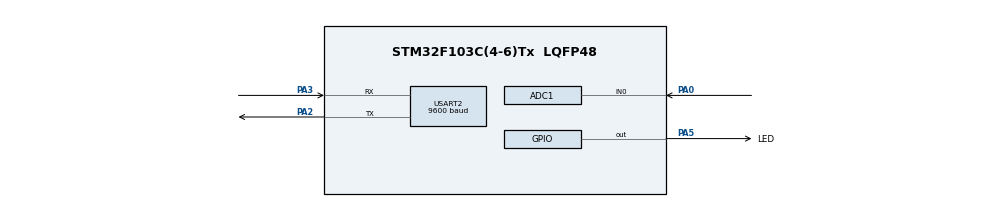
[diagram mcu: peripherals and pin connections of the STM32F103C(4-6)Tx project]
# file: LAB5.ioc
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ADC1.Channel-0\#ChannelRegularConversion=ADC_CHANNEL_0
ADC1.ContinuousConvMode=ENABLE
ADC1.NbrOfConversionFlag=1
ADC1.Rank-0\#ChannelRegularConversion=1
ADC1.SamplingTime-0\#ChannelRegularConversion=ADC_SAMPLETIME_1CYCLE_5
ADC1.master=1
Mcu.Family=STM32F1
Mcu.Name=STM32F103C(4-6)Tx
Mcu.Package=LQFP48
NVIC.PriorityGroup=NVIC_PRIORITYGROUP_4
NVIC.TIM2_IRQn=true\:0\:0\:false\:false\:true\:true\:true\:true
NVIC.USART2_IRQn=true\:0\:0\:false\:false\:true\:true\:true\:true
PA0-WKUP.Signal=ADCx_IN0
PA2.Mode=Asynchronous
PA2.Signal=USART2_TX
PA3.Mode=Asynchronous
PA3.Signal=USART2_RX
PA5.GPIO_Label=LED
PA5.Signal=GPIO_Output
ProjectManager.HeapSize=0x200
ProjectManager.StackSize=0x400
ProjectManager.TargetToolchain=STM32CubeIDE
RCC.APB1Freq_Value=8000000
RCC.APB2Freq_Value=8000000
SH.ADCx_IN0.0=ADC1_IN0,IN0
TIM2.Period=9
TIM2.Prescaler=7999
USART2.BaudRate=9600
USART2.VirtualMode=VM_ASYNC
VP_SYS_VS_ND.Mode=No_Debug
VP_TIM2_VS_ClockSourceINT.Mode=Internal
board=custom

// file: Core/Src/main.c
/* USER CODE BEGIN Header */
/**
  ******************************************************************************
  * @file           : main.c
  * @brief          : Main program body
  ******************************************************************************
  * @attention
  *
  * Copyright (c) 2024 STMicroelectronics.
  * All rights reserved.
  *
  * This software is licensed under terms that can be found in the LICENSE file
  * in the root directory of this software component.
  * If no LICENSE file comes with this software, it is provided AS-IS.
  *
  ******************************************************************************
  */
/* USER CODE END Header */
#include "main.h"

/* USER CODE BEGIN Includes */
#include "soft_timer.h"
#include "fsm.h"
/* USER CODE END Includes */

ADC_HandleTypeDef hadc1;

TIM_HandleTypeDef htim2;

UART_HandleTypeDef huart2;

void SystemClock_Config(void);
static void MX_GPIO_Init(void);
static void MX_ADC1_Init(void);
static void MX_USART2_UART_Init(void);
static void MX_TIM2_Init(void);

/* USER CODE BEGIN 0 */
void toggle_red(void)
{
	HAL_GPIO_TogglePin(LED_GPIO_Port, LED_Pin);
}

/* USER CODE END 0 */

int main(void)
{

  /* MCU Configuration--------------------------------------------------------*/

  /* Reset of all peripherals, Initializes the Flash interface and the Systick. */
  HAL_Init();

  /* Configure the system clock */
  SystemClock_Config();

  /* Initialize all configured peripherals */
  MX_GPIO_Init();
  MX_ADC1_Init();
  MX_USART2_UART_Init();
  MX_TIM2_Init();
  /* USER CODE BEGIN 2 */
  setTimer(0, 500);
  setTimer(TIMER_FSM, 500);

  	HAL_ADC_Start(&hadc1);
  	HAL_TIM_Base_Start_IT(&htim2);
  	HAL_UART_Receive_IT(&huart2, &buffer_byte, 1);
  /* USER CODE END 2 */

  /* Infinite loop */
  while (1)
  {
	  if (getTimerFlag(0))
	  {
		  toggle_red();
		  setTimer(0, 500);
	  }

	  if(buffer_flag == 1){
		 command_parser_fsm(&hadc1, &huart2);
		 buffer_flag = 0;
	  }
	  uart_communication_fsm(&hadc1, &huart2);
  }
}

void SystemClock_Config(void)
{
  RCC_OscInitTypeDef RCC_OscInitStruct = {0};
  RCC_ClkInitTypeDef RCC_ClkInitStruct = {0};
  RCC_PeriphCLKInitTypeDef PeriphClkInit = {0};

  /** Initializes the RCC Oscillators according to the specified parameters
  * in the RCC_OscInitTypeDef structure.
  */
  RCC_OscInitStruct.OscillatorType = RCC_OSCILLATORTYPE_HSI;
  RCC_OscInitStruct.HSIState = RCC_HSI_ON;
  RCC_OscInitStruct.HSICalibrationValue = RCC_HSICALIBRATION_DEFAULT;
  RCC_OscInitStruct.PLL.PLLState = RCC_PLL_NONE;
  if (HAL_RCC_OscConfig(&RCC_OscInitStruct) != HAL_OK)
  {
    Error_Handler();
  }

  /** Initializes the CPU, AHB and APB buses clocks
  */
  RCC_ClkInitStruct.ClockType = RCC_CLOCKTYPE_HCLK|RCC_CLOCKTYPE_SYSCLK
                              |RCC_CLOCKTYPE_PCLK1|RCC_CLOCKTYPE_PCLK2;
  RCC_ClkInitStruct.SYSCLKSource = RCC_SYSCLKSOURCE_HSI;
  RCC_ClkInitStruct.AHBCLKDivider = RCC_SYSCLK_DIV1;
  RCC_ClkInitStruct.APB1CLKDivider = RCC_HCLK_DIV1;
  RCC_ClkInitStruct.APB2CLKDivider = RCC_HCLK_DIV1;

  if (HAL_RCC_ClockConfig(&RCC_ClkInitStruct, FLASH_LATENCY_0) != HAL_OK)
  {
    Error_Handler();
  }
  PeriphClkInit.PeriphClockSelection = RCC_PERIPHCLK_ADC;
  PeriphClkInit.AdcClockSelection = RCC_ADCPCLK2_DIV2;
  if (HAL_RCCEx_PeriphCLKConfig(&PeriphClkInit) != HAL_OK)
  {
    Error_Handler();
  }
}

static void MX_ADC1_Init(void)
{

  ADC_ChannelConfTypeDef sConfig = {0};

  /** Common config
  */
  hadc1.Instance = ADC1;
  hadc1.Init.ScanConvMode = ADC_SCAN_DISABLE;
  hadc1.Init.ContinuousConvMode = ENABLE;
  hadc1.Init.DiscontinuousConvMode = DISABLE;
  hadc1.Init.ExternalTrigConv = ADC_SOFTWARE_START;
  hadc1.Init.DataAlign = ADC_DATAALIGN_RIGHT;
  hadc1.Init.NbrOfConversion = 1;
  if (HAL_ADC_Init(&hadc1) != HAL_OK)
  {
    Error_Handler();
  }

  /** Configure Regular Channel
  */
  sConfig.Channel = ADC_CHANNEL_0;
  sConfig.Rank = ADC_REGULAR_RANK_1;
  sConfig.SamplingTime = ADC_SAMPLETIME_1CYCLE_5;
  if (HAL_ADC_ConfigChannel(&hadc1, &sConfig) != HAL_OK)
  {
    Error_Handler();
  }

}

static void MX_TIM2_Init(void)
{

  TIM_ClockConfigTypeDef sClockSourceConfig = {0};
  TIM_MasterConfigTypeDef sMasterConfig = {0};

  htim2.Instance = TIM2;
  htim2.Init.Prescaler = 7999;
  htim2.Init.CounterMode = TIM_COUNTERMODE_UP;
  htim2.Init.Period = 9;
  htim2.Init.ClockDivision = TIM_CLOCKDIVISION_DIV1;
  htim2.Init.AutoReloadPreload = TIM_AUTORELOAD_PRELOAD_DISABLE;
  if (HAL_TIM_Base_Init(&htim2) != HAL_OK)
  {
    Error_Handler();
  }
  sClockSourceConfig.ClockSource = TIM_CLOCKSOURCE_INTERNAL;
  if (HAL_TIM_ConfigClockSource(&htim2, &sClockSourceConfig) != HAL_OK)
  {
    Error_Handler();
  }
  sMasterConfig.MasterOutputTrigger = TIM_TRGO_RESET;
  sMasterConfig.MasterSlaveMode = TIM_MASTERSLAVEMODE_DISABLE;
  if (HAL_TIMEx_MasterConfigSynchronization(&htim2, &sMasterConfig) != HAL_OK)
  {
    Error_Handler();
  }

}

static void MX_USART2_UART_Init(void)
{

  huart2.Instance = USART2;
  huart2.Init.BaudRate = 9600;
  huart2.Init.WordLength = UART_WORDLENGTH_8B;
  huart2.Init.StopBits = UART_STOPBITS_1;
  huart2.Init.Parity = UART_PARITY_NONE;
  huart2.Init.Mode = UART_MODE_TX_RX;
  huart2.Init.HwFlowCtl = UART_HWCONTROL_NONE;
  huart2.Init.OverSampling = UART_OVERSAMPLING_16;
  if (HAL_UART_Init(&huart2) != HAL_OK)
  {
    Error_Handler();
  }

}

static void MX_GPIO_Init(void)
{
  GPIO_InitTypeDef GPIO_InitStruct = {0};

  /* GPIO Ports Clock Enable */
  __HAL_RCC_GPIOA_CLK_ENABLE();

  /*Configure GPIO pin Output Level */
  HAL_GPIO_WritePin(LED_GPIO_Port, LED_Pin, GPIO_PIN_RESET);

  /*Configure GPIO pin : LED_Pin */
  GPIO_InitStruct.Pin = LED_Pin;
  GPIO_InitStruct.Mode = GPIO_MODE_OUTPUT_PP;
  GPIO_InitStruct.Pull = GPIO_NOPULL;
  GPIO_InitStruct.Speed = GPIO_SPEED_FREQ_LOW;
  HAL_GPIO_Init(LED_GPIO_Port, &GPIO_InitStruct);

}

/* USER CODE BEGIN 4 */
void HAL_TIM_PeriodElapsedCallback ( TIM_HandleTypeDef * htim )
{
	runTimer();
}

void HAL_UART_RxCpltCallback(UART_HandleTypeDef *huart){
	if(huart->Instance == USART2){
		HAL_UART_Transmit(&huart2, &buffer_byte, 1, 500);
		buffer[index_buffer] = buffer_byte;
		index_buffer++;
		if (index_buffer == MAX_BUFFER_SIZE) index_buffer = 0;
		buffer_flag = 1;
		HAL_UART_Receive_IT(&huart2, &buffer_byte, 1);
	}
}
/* USER CODE END 4 */

void Error_Handler(void)
{
  __disable_irq();
  while (1)
  {
  }
}
